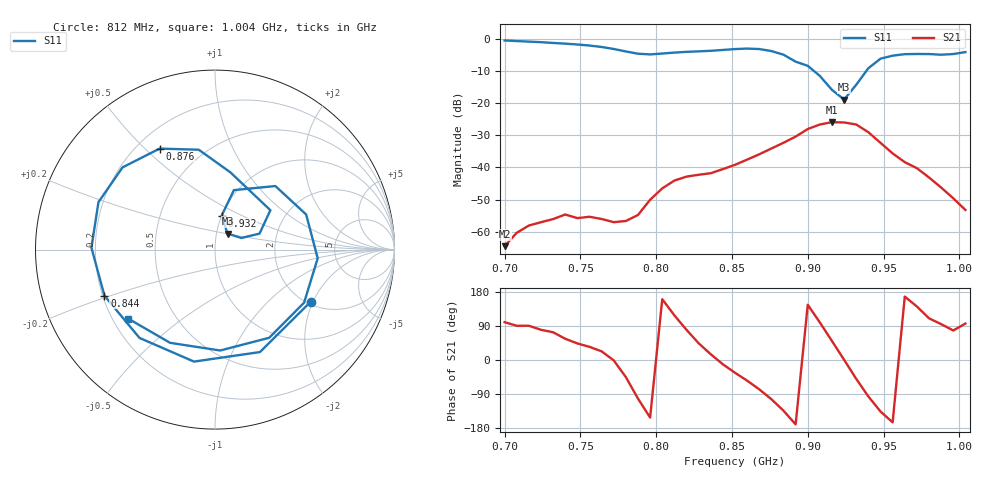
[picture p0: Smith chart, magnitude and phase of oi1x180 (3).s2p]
# Hz S RI R 50
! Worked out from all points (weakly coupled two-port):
!   39 points, 700 MHz to 1.004 GHz, reference 50 ohm
!   highest |S21| = -25.93 dB at 916 MHz (marker M1); lowest = -64.4 dB at 700 MHz (marker M2)
!   lowest |S11| = -18.9 dB at 924 MHz (marker M3), VSWR 1.26, Z = 56.5 + j10.2 ohm
!   |S11| at or under -10 dB: 904 MHz to 938.7 MHz (34.74 MHz wide, 3.77 % of centre)
!   S12 and S22 are empty: the file has one direction only
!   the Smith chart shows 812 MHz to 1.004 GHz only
!   S11 on the Smith chart (normalised r, x): 812 MHz: 2.10, -1.92; 844 MHz: 0.21, -0.19; 876 MHz: 0.29, +0.55; 932 MHz: 1.00, +0.39; 1.004 GHz: 0.26, -0.33
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7e8  0.7561 0.5534  -0.000102 0.000592  0 0  0 0
7.24e8  0.8469 -0.2435  0.000253 0.00139  0 0  0 0
7.4e8  0.4546 -0.7016  0.00104 0.00155  0 0  0 0
7.56e8  -0.1918 -0.7569  0.00141 0.000978  0 0  0 0
7.72e8  -0.6627 -0.1953  0.00142 -2.47e-05  0 0  0 0
7.8e8  -0.59 0.2274  0.00104 -0.00105  0 0  0 0
7.88e8  -0.2361 0.5331  -0.000378 -0.00179  0 0  0 0
7.96e8  0.2482 0.5118  -0.00278 -0.00149  0 0  0 0
8.04e8  0.5654 0.1576  -0.00446 0.00159  0 0  0 0
8.12e8  0.5341 -0.2894  -0.00293 0.00554  0 0  0 0
8.28e8  -0.1169 -0.624  0.00552 0.00538  0 0  0 0
8.44e8  -0.6161 -0.2566  0.00926 -0.00185  0 0  0 0
8.52e8  -0.6884 0.0109  0.00915 -0.00609  0 0  0 0
8.76e8  -0.3087 0.5628  -0.00456 -0.0192  0 0  0 0
9e8  0.3087 0.2194  -0.0326 0.0223  0 0  0 0
9.08e8  0.2481 0.0892  -0.00722 0.0459  0 0  0 0
9.16e8  0.1464 0.0647  0.0325 0.0387  0 0  0 0
9.24e8  0.0698 0.0895  0.05 0.000348  0 0  0 0
9.32e8  0.037 0.1891  0.0299 -0.0355  0 0  0 0
9.56e8  0.5078 0.1956  -0.0159 -0.00439  0 0  0 0
9.8e8  0.3023 -0.4912  -0.00239 0.00657  0 0  0 0
1.004e9  -0.4846 -0.384  -0.000235 0.00218  0 0  0 0
